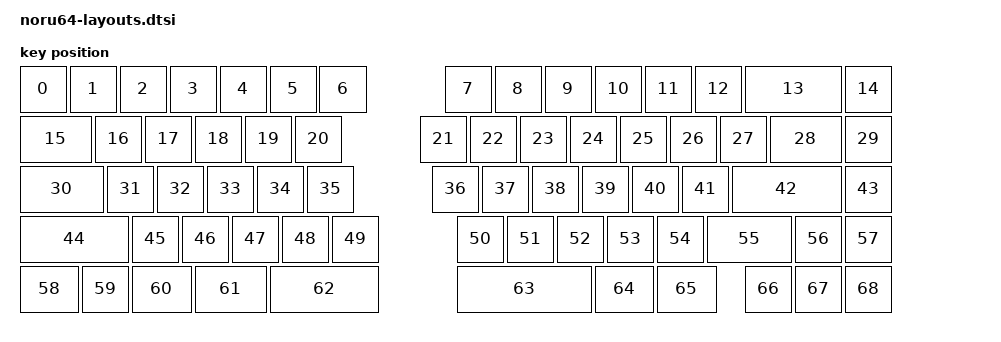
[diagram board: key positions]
#include <physical_layouts.dtsi>

/ {
    physical_layout0: physical_layout_0 {
        compatible = "zmk,physical-layout";
        display-name = "Default";

        keys  //                     w   h    x    y     rot    rx    ry
            = <&key_physical_attrs 100 100 225 125       0     0     0>
            , <&key_physical_attrs 100 100 325 125       0     0     0>
            , <&key_physical_attrs 100 100 425 125       0     0     0>
            , <&key_physical_attrs 100 100 525 125       0     0     0>
            , <&key_physical_attrs 100 100 625 125       0     0     0>
            , <&key_physical_attrs 100 100 725 125       0     0     0>
            , <&key_physical_attrs 100 100 825 125       0     0     0>
            , <&key_physical_attrs 100 100 1075 125       0     0     0>
            , <&key_physical_attrs 100 100 1175 125       0     0     0>
            , <&key_physical_attrs 100 100 1275 125       0     0     0>
            , <&key_physical_attrs 100 100 1375 125       0     0     0>
            , <&key_physical_attrs 100 100 1475 125       0     0     0>
            , <&key_physical_attrs 100 100 1575 125       0     0     0>
            , <&key_physical_attrs 200 100 1675 125       0     0     0>
            , <&key_physical_attrs 100 100 1875 125       0     0     0>
            , <&key_physical_attrs 150 100 225 225       0     0     0>
            , <&key_physical_attrs 100 100 375 225       0     0     0>
            , <&key_physical_attrs 100 100 475 225       0     0     0>
            , <&key_physical_attrs 100 100 575 225       0     0     0>
            , <&key_physical_attrs 100 100 675 225       0     0     0>
            , <&key_physical_attrs 100 100 775 225       0     0     0>
            , <&key_physical_attrs 100 100 1025 225       0     0     0>
            , <&key_physical_attrs 100 100 1125 225       0     0     0>
            , <&key_physical_attrs 100 100 1225 225       0     0     0>
            , <&key_physical_attrs 100 100 1325 225       0     0     0>
            , <&key_physical_attrs 100 100 1425 225       0     0     0>
            , <&key_physical_attrs 100 100 1525 225       0     0     0>
            , <&key_physical_attrs 100 100 1625 225       0     0     0>
            , <&key_physical_attrs 150 100 1725 225       0     0     0>
            , <&key_physical_attrs 100 100 1875 225       0     0     0>
            , <&key_physical_attrs 175 100 225 325       0     0     0>
            , <&key_physical_attrs 100 100 400 325       0     0     0>
            , <&key_physical_attrs 100 100 500 325       0     0     0>
            , <&key_physical_attrs 100 100 600 325       0     0     0>
            , <&key_physical_attrs 100 100 700 325       0     0     0>
            , <&key_physical_attrs 100 100 800 325       0     0     0>
            , <&key_physical_attrs 100 100 1050 325       0     0     0>
            , <&key_physical_attrs 100 100 1150 325       0     0     0>
            , <&key_physical_attrs 100 100 1250 325       0     0     0>
            , <&key_physical_attrs 100 100 1350 325       0     0     0>
            , <&key_physical_attrs 100 100 1450 325       0     0     0>
            , <&key_physical_attrs 100 100 1550 325       0     0     0>
            , <&key_physical_attrs 225 100 1650 325       0     0     0>
            , <&key_physical_attrs 100 100 1875 325       0     0     0>
            , <&key_physical_attrs 225 100 225 425       0     0     0>
            , <&key_physical_attrs 100 100 450 425       0     0     0>
            , <&key_physical_attrs 100 100 550 425       0     0     0>
            , <&key_physical_attrs 100 100 650 425       0     0     0>
            , <&key_physical_attrs 100 100 750 425       0     0     0>
            , <&key_physical_attrs 100 100 850 425       0     0     0>
            , <&key_physical_attrs 100 100 1100 425       0     0     0>
            , <&key_physical_attrs 100 100 1200 425       0     0     0>
            , <&key_physical_attrs 100 100 1300 425       0     0     0>
            , <&key_physical_attrs 100 100 1400 425       0     0     0>
            , <&key_physical_attrs 100 100 1500 425       0     0     0>
            , <&key_physical_attrs 175 100 1600 425       0     0     0>
            , <&key_physical_attrs 100 100 1775 425       0     0     0>
            , <&key_physical_attrs 100 100 1875 425       0     0     0>
            , <&key_physical_attrs 125 100 225 525       0     0     0>
            , <&key_physical_attrs 100 100 350 525       0     0     0>
            , <&key_physical_attrs 125 100 450 525       0     0     0>
            , <&key_physical_attrs 150 100 575 525       0     0     0>
            , <&key_physical_attrs 225 100 725 525       0     0     0>
            , <&key_physical_attrs 275 100 1100 525       0     0     0>
            , <&key_physical_attrs 125 100 1375 525       0     0     0>
            , <&key_physical_attrs 125 100 1500 525       0     0     0>
            , <&key_physical_attrs 100 100 1675 525       0     0     0>
            , <&key_physical_attrs 100 100 1775 525       0     0     0>
            , <&key_physical_attrs 100 100 1875 525       0     0     0>;
    };
};
